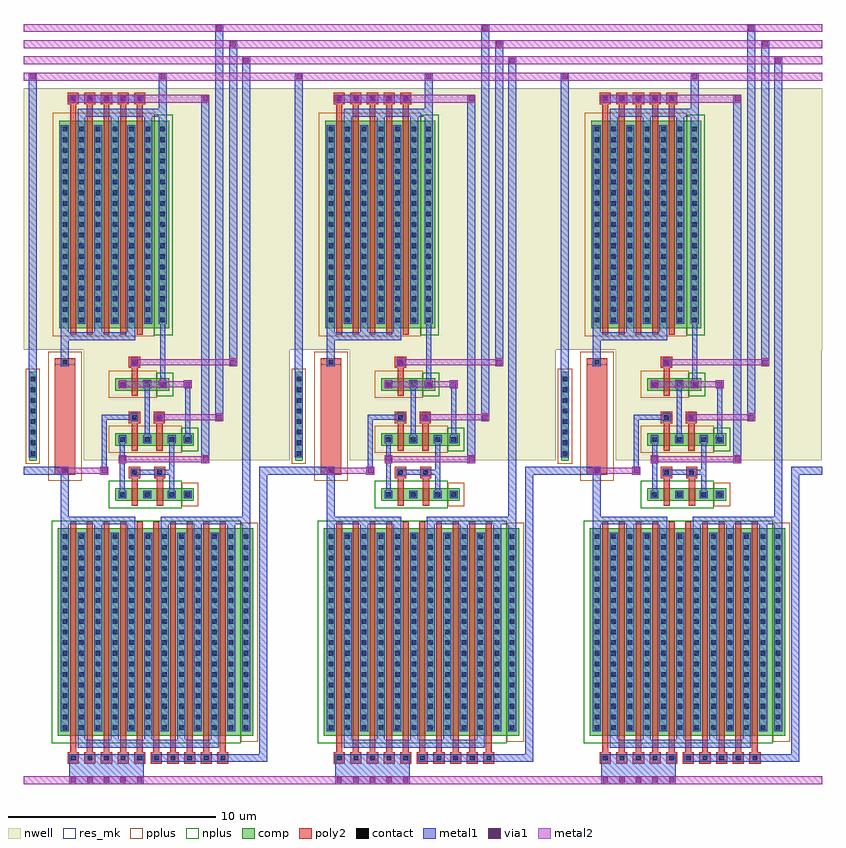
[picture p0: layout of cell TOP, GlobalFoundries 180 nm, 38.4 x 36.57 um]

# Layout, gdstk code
import gdstk
lib = gdstk.Library(unit=1e-6, precision=1e-09)
def R(c, l, rs):  # rectangles x0, y0, x1, y1
    for r in rs: c.add(gdstk.rectangle(r[:2], r[2:], *l))
def A(c, l, x, y, w, h, nx, ny, dx, dy):  # array of equal rectangles
    R(c, l, [(x+i*dx, y+j*dy, x+i*dx+w, y+j*dy+h) for i in range(nx) for j in range(ny)])
nwell = (21, 0)
comp = (22, 0)
poly2 = (30, 0)
pplus = (31, 0)
nplus = (32, 0)
contact = (33, 0)
metal1 = (34, 0)
via1 = (35, 0)
metal2 = (36, 0)
res_mk = (110, 5)

gainstage = lib.new_cell('GainStage')
R(gainstage, nwell, [(-3.41,2.97,6.51,8.29), (-6.28,8.29,6.52,20.87)])
R(gainstage, comp, [(-4.65,-10.29,4.75,-0.29), (-1.9,1.03,1.9,1.63), (-6.03,2.96,-5.67,7.23), (-1.9,3.68,1.9,4.28), (-1.9,6.33,0.7,6.93), (-4.58,9.32,0.72,19.32)])
A(gainstage, poly2, -4.18, -11.62, 0.54, 0.54, 10, 1, 0.8, 0)
A(gainstage, poly2, -4.05, -11.08, 0.28, 11.1, 10, 1, 0.8, 0)
A(gainstage, poly2, -1.1, 0.78, 0.3, 1.34, 1, 3, 0, 2.65)
A(gainstage, poly2, -1.23, 2.12, 0.54, 0.54, 1, 3, 0, 2.65)
A(gainstage, poly2, -4.05, 9.01, 0.28, 11.1, 5, 1, 0.8, 0)
A(gainstage, poly2, -4.18, 20.11, 0.54, 0.54, 5, 1, 0.8, 0)
R(gainstage, poly2, [(0.11,0.78,0.41,2.12), (-0.02,2.12,0.52,2.66), (-4.81,2.29,-3.81,7.89), (-4.81,2.29,-3.81,7.89), (0.09,3.43,0.39,4.77), (-0.04,4.77,0.5,5.31)])
R(gainstage, pplus, [(4.16,-10.56,4.96,-0.02), (1.3,0.76,2.1,1.9), (-5.11,1.99,-3.51,8.19), (-6.19,2.8,-5.51,7.39), (-2.2,3.33,1.3,4.63), (-2.2,5.98,0.1,7.28), (-4.9,8.94,0,19.69)])
R(gainstage, nplus, [(-4.95,-10.64,4.16,0.06), (-2.2,0.68,1.3,1.98), (1.3,3.41,2.1,4.55), (0.1,6.06,0.9,7.2), (0,9.005,0.88,19.615)])
A(gainstage, contact, -4.02, -11.46, 0.22, 0.22, 10, 1, 0.8, 0)
A(gainstage, contact, -4.42, -9.99, 0.22, 0.22, 11, 19, 0.8, 0.51)
A(gainstage, contact, 4.3, -9.99, 0.22, 0.22, 1, 19, 0, 0.51)
A(gainstage, contact, -1.65, 1.22, 0.22, 0.22, 1, 3, 0, 2.65)
A(gainstage, contact, -0.46, 1.22, 0.22, 0.22, 1, 3, 0, 2.65)
A(gainstage, contact, -1.07, 2.28, 0.22, 0.22, 1, 3, 0, 2.65)
A(gainstage, contact, -5.96, 3.2, 0.22, 0.22, 1, 8, 0, 0.51)
A(gainstage, contact, -4.42, 9.62, 0.22, 0.22, 6, 19, 0.8, 0.51)
A(gainstage, contact, 0.28, 9.62, 0.22, 0.22, 1, 19, 0, 0.51)
A(gainstage, contact, -4.02, 20.27, 0.22, 0.22, 5, 1, 0.8, 0)
R(gainstage, contact, [(0.72,1.22,0.94,1.44), (1.49,1.22,1.71,1.44), (0.14,2.28,0.36,2.5), (-4.42,2.37,-4.2,2.59), (-4.42,2.37,-4.2,2.59), (0.72,3.87,0.94,4.09), (1.49,3.87,1.71,4.09), (0.12,4.93,0.34,5.15), (0.29,6.52,0.51,6.74), (-4.42,7.59,-4.2,7.81), (-4.42,7.59,-4.2,7.81)])
A(gainstage, metal1, -4.1, -11.54, 0.38, 0.38, 10, 1, 0.8, 0)
A(gainstage, metal1, -3.7, -10.47, 0.38, 0.4, 5, 1, 1.6, 0)
A(gainstage, metal1, -4.5, -10.07, 0.38, 9.56, 11, 1, 0.8, 0)
A(gainstage, metal1, -2.9, -0.51, 0.38, 0.4, 5, 1, 1.6, 0)
A(gainstage, metal1, -0.54, 1.14, 0.38, 0.38, 1, 3, 0, 2.65)
A(gainstage, metal1, 1.41, 1.14, 0.38, 0.38, 1, 3, 0, 2.65)
A(gainstage, metal1, -1.15, 2.2, 0.38, 0.38, 1, 3, 0, 2.65)
A(gainstage, metal1, -4.5, 9.14, 0.38, 0.4, 3, 1, 1.6, 0)
A(gainstage, metal1, -4.5, 9.54, 0.38, 9.56, 6, 1, 0.8, 0)
A(gainstage, metal1, -3.7, 19.1, 0.38, 0.4, 3, 1, 1.6, 0)
A(gainstage, metal1, -4.1, 20.19, 0.38, 0.38, 5, 1, 0.8, 0)
R(gainstage, metal1, [(-4.1,-12.6,-0.52,-11.16), (-4.1,-11.54,-0.52,-11.16), (-0.1,-11.54,3.48,-11.16), (3.1,-11.54,5.42,-11.16), (5.04,-11.54,5.42,2.66), (-3.7,-10.85,3.08,-10.47), (4.22,-10.07,4.6,-0.51), (-4.5,-0.51,-4.12,2.67), (4.22,-0.51,4.6,-0.11), (-4.5,-0.11,-0.92,0.27), (0.3,-0.11,4.6,0.27), (4.22,-0.11,4.6,22.41), (-1.73,1.14,-1.35,1.52), (0.64,1.14,1.02,1.52), (-1.66,1.21,-1.42,4.1), (0.71,1.21,0.95,4.1), (0.71,1.52,0.95,3.79), (0.06,2.2,0.44,2.58), (-1.08,2.27,0.95,2.51), (-2.6,2.28,-2.22,2.66), (5.04,2.28,6.52,2.66), (-6.28,2.29,-4.12,2.67), (-4.5,2.29,-4.12,2.67), (-4.5,2.29,-4.12,2.67), (-2.53,2.36,-2.29,5.16), (-1.73,2.84,-1.35,3.22), (2.26,2.84,2.64,20.57), (-6.04,3.12,-5.66,7.07), (-1.73,3.79,-1.35,4.17), (0.64,3.79,1.02,4.17), (-0.47,3.86,-0.23,6.75), (1.48,4.17,1.72,6.44), (0.04,4.85,0.42,5.23), (2.92,4.85,3.3,5.23), (2.92,4.85,3.3,23.97), (-2.53,4.92,-0.85,5.16), (-1.73,6.44,-1.35,6.82), (0.21,6.44,0.59,6.82), (0.28,6.525,0.51,9.835), (-6.04,7.07,-5.66,21.63), (3.59,7.5,3.97,23.19), (-4.5,7.51,-4.12,7.89), (-4.5,7.51,-4.12,7.89), (-4.5,7.89,-4.12,8.76), (-4.5,8.76,-0.92,9.14), (0.2,9.54,0.58,19.1), (0.2,19.1,0.58,21.63), (-3.7,19.5,0.58,19.88), (-4.1,20.19,-0.52,20.57)])
A(gainstage, via1, -4.04, -12.54, 0.26, 0.26, 5, 2, 0.8, 32.79)
R(gainstage, via1, [(-4.44,2.35,-4.18,2.61), (-4.44,2.35,-4.18,2.61), (-4.44,2.35,-4.18,2.61), (-2.54,2.35,-2.28,2.61), (-1.67,2.9,-1.41,3.16), (2.32,2.9,2.58,3.16), (0.1,4.91,0.36,5.17), (2.98,4.91,3.24,5.17), (-1.67,6.5,-1.41,6.76), (0.27,6.5,0.53,6.76), (1.47,6.5,1.73,6.76), (-1.09,7.56,-0.83,7.82), (3.65,7.56,3.91,7.82), (2.32,20.25,2.58,20.51), (0.265,21.305,0.525,21.565), (-5.98,21.31,-5.72,21.57), (4.28,22.09,4.54,22.35), (3.65,22.87,3.91,23.13), (2.98,23.65,3.24,23.91)])
A(gainstage, metal2, -6.28, 21.25, 12.8, 0.38, 1, 4, 0, 0.78)
R(gainstage, metal2, [(-6.28,-12.6,6.52,-12.22), (-2.6,2.28,-2.22,2.66), (-4.5,2.29,-4.12,2.67), (-4.43,2.34,-2.27,2.62), (-1.73,2.84,-1.35,3.22), (2.26,2.84,2.64,3.22), (-1.72,2.89,2.64,3.17), (0.04,4.85,0.42,5.23), (2.92,4.85,3.3,5.23), (0.12,4.9,3.22,5.18), (-1.73,6.44,-1.35,6.82), (0.21,6.44,0.59,6.82), (1.41,6.44,1.79,6.82), (-1.65,6.49,1.71,6.77), (-1.15,7.5,-0.77,7.88), (3.59,7.5,3.97,7.88), (-1.08,7.55,3.9,7.83), (-4.1,20.19,2.64,20.57)])
R(gainstage, res_mk, [(-4.81,2.59,-3.81,7.59), (-4.81,2.59,-3.81,7.59)])

top = lib.new_cell('TOP')
r = gdstk.Reference(gainstage, (-11.84,-0.06)); r.repetition = gdstk.Repetition(1, 1, v1=(0,0), v2=(0,0)); top.add(r)
r = gdstk.Reference(gainstage, (0.96,-0.06)); r.repetition = gdstk.Repetition(1, 1, v1=(0,0), v2=(0,0)); top.add(r)
r = gdstk.Reference(gainstage, (13.76,-0.06)); r.repetition = gdstk.Repetition(1, 1, v1=(0,0), v2=(0,0)); top.add(r)

lib.write_gds('TOP.gds')
